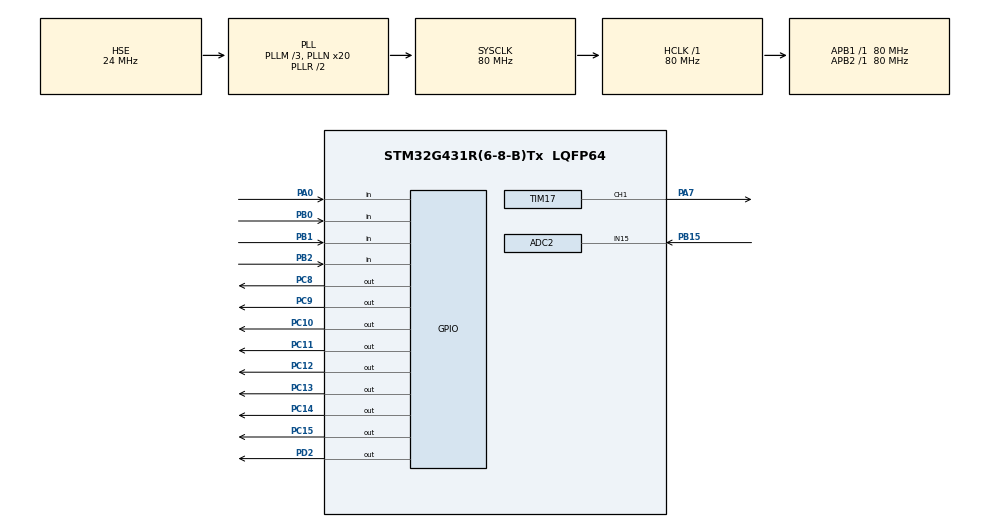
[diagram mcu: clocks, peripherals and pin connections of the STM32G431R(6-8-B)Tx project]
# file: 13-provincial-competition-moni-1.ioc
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ADC2.Channel-0\#ChannelRegularConversion=ADC_CHANNEL_15
ADC2.NbrOfConversionFlag=1
ADC2.OffsetNumber-0\#ChannelRegularConversion=ADC_OFFSET_NONE
ADC2.Rank-0\#ChannelRegularConversion=1
ADC2.SamplingTime-0\#ChannelRegularConversion=ADC_SAMPLETIME_2CYCLES_5
Mcu.Family=STM32G4
Mcu.Name=STM32G431R(6-8-B)Tx
Mcu.Package=LQFP64
NVIC.PriorityGroup=NVIC_PRIORITYGROUP_4
NVIC.TIM2_IRQn=true\:0\:0\:false\:false\:true\:true\:true\:true
PA0.GPIO_PuPd=GPIO_PULLUP
PA0.Signal=GPIO_Input
PA13.Mode=Serial_Wire
PA13.Signal=SYS_JTMS-SWDIO
PA14.Mode=Serial_Wire
PA14.Signal=SYS_JTCK-SWCLK
PA7.Signal=S_TIM17_CH1
PB0.GPIO_PuPd=GPIO_PULLUP
PB0.Signal=GPIO_Input
PB1.GPIO_PuPd=GPIO_PULLUP
PB1.Signal=GPIO_Input
PB15.Mode=IN15-Single-Ended
PB15.Signal=ADC2_IN15
PB2.GPIO_PuPd=GPIO_PULLUP
PB2.Signal=GPIO_Input
PC10.PinState=GPIO_PIN_SET
PC10.Signal=GPIO_Output
PC11.PinState=GPIO_PIN_SET
PC11.Signal=GPIO_Output
PC12.PinState=GPIO_PIN_SET
PC12.Signal=GPIO_Output
PC13.PinState=GPIO_PIN_SET
PC13.Signal=GPIO_Output
PC14-OSC32_IN.PinState=GPIO_PIN_SET
PC14-OSC32_IN.Signal=GPIO_Output
PC15-OSC32_OUT.PinState=GPIO_PIN_SET
PC15-OSC32_OUT.Signal=GPIO_Output
PC8.PinState=GPIO_PIN_SET
PC8.Signal=GPIO_Output
PC9.PinState=GPIO_PIN_SET
PC9.Signal=GPIO_Output
PD2.Signal=GPIO_Output
PF0-OSC_IN.Mode=HSE-External-Oscillator
PF0-OSC_IN.Signal=RCC_OSC_IN
PF1-OSC_OUT.Mode=HSE-External-Oscillator
PF1-OSC_OUT.Signal=RCC_OSC_OUT
ProjectManager.HeapSize=0x200
ProjectManager.StackSize=0x400
ProjectManager.TargetToolchain=MDK-ARM V5.32
RCC.ADC12Freq_Value=80000000
RCC.AHBFreq_Value=80000000
RCC.APB1Freq_Value=80000000
RCC.APB1TimFreq_Value=80000000
RCC.APB2Freq_Value=80000000
RCC.APB2TimFreq_Value=80000000
RCC.CortexFreq_Value=80000000
RCC.EXTERNAL_CLOCK_VALUE=12288000
RCC.HCLKFreq_Value=80000000
RCC.HSE_VALUE=24000000
RCC.HSI48_VALUE=48000000
RCC.HSI_VALUE=16000000
RCC.LSE_VALUE=32768
RCC.PLLM=RCC_PLLM_DIV3
RCC.PLLN=20
RCC.PLLSourceVirtual=RCC_PLLSOURCE_HSE
RCC.SYSCLKFreq_VALUE=80000000
RCC.SYSCLKSource=RCC_SYSCLKSOURCE_PLLCLK
RCC.USBFreq_Value=80000000
RCC.VCOOutputFreq_Value=160000000
SH.S_TIM17_CH1.0=TIM17_CH1,PWM Generation1 CH1
TIM17.Channel=TIM_CHANNEL_1
TIM17.PeriodNoDither=100-1
TIM17.Prescaler=800-1
TIM2.PeriodNoDither=1000-1
TIM2.Prescaler=8000-1
VP_SYS_VS_DBSignals.Mode=DisableDeadBatterySignals
VP_TIM17_VS_ClockSourceINT.Mode=Enable_Timer
VP_TIM2_VS_ClockSourceINT.Mode=Internal
board=custom

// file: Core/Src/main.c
/* USER CODE BEGIN Header */
/**
  ******************************************************************************
  * @file           : main.c
  * @brief          : Main program body
  ******************************************************************************
  * @attention
  *
  * Copyright (c) 2025 STMicroelectronics.
  * All rights reserved.
  *
  * This software is licensed under terms that can be found in the LICENSE file
  * in the root directory of this software component.
  * If no LICENSE file comes with this software, it is provided AS-IS.
  *
  ******************************************************************************
  */
/* USER CODE END Header */
#include "main.h"
#include "adc.h"
#include "tim.h"
#include "gpio.h"

/* USER CODE BEGIN Includes */
#include "stdio.h"
#include "stdint.h"
#include "string.h"
#include "lcd.h"
/* USER CODE END Includes */

/* USER CODE BEGIN PV */
char text[20];
double VR37;
uint8_t d, lock_flag=0, led2_flag=0;
uint16_t FA7=1000;
uint8_t key_val, key_up, key_down, key_last_val;
/* USER CODE END PV */

void SystemClock_Config(void);
/* USER CODE BEGIN PFP */
void LCD_Proc(void);
void KEY_Proc(void);
uint8_t KEY_Scan(void);
void PWM_Proc(void);
void LED_Proc(void);
void LED_Show(uint8_t led, uint8_t mode);
/* USER CODE END PFP */

int main(void)
{

  /* MCU Configuration--------------------------------------------------------*/

  /* Reset of all peripherals, Initializes the Flash interface and the Systick. */
  HAL_Init();

  /* Configure the system clock */
  SystemClock_Config();

  /* Initialize all configured peripherals */
  MX_GPIO_Init();
  MX_ADC2_Init();
  MX_TIM17_Init();
  MX_TIM2_Init();
  /* USER CODE BEGIN 2 */
    // LCD
    LCD_Init();
    LCD_Clear(Black);
    LCD_SetBackColor(Black);
    LCD_SetTextColor(White);
    // ADC
    HAL_ADCEx_Calibration_Start(&hadc2, ADC_SINGLE_ENDED);
    // TIM
    HAL_TIM_PWM_Start(&htim17, TIM_CHANNEL_1);
  /* USER CODE END 2 */

  /* Infinite loop */
  /* USER CODE BEGIN WHILE */
  while (1)
  {
      LCD_Proc();
      PWM_Proc();
      KEY_Proc();
      LED_Proc();
    /* USER CODE END WHILE */

  }
}

void SystemClock_Config(void)
{
  RCC_OscInitTypeDef RCC_OscInitStruct = {0};
  RCC_ClkInitTypeDef RCC_ClkInitStruct = {0};

  /** Configure the main internal regulator output voltage
  */
  HAL_PWREx_ControlVoltageScaling(PWR_REGULATOR_VOLTAGE_SCALE1);

  /** Initializes the RCC Oscillators according to the specified parameters
  * in the RCC_OscInitTypeDef structure.
  */
  RCC_OscInitStruct.OscillatorType = RCC_OSCILLATORTYPE_HSE;
  RCC_OscInitStruct.HSEState = RCC_HSE_ON;
  RCC_OscInitStruct.PLL.PLLState = RCC_PLL_ON;
  RCC_OscInitStruct.PLL.PLLSource = RCC_PLLSOURCE_HSE;
  RCC_OscInitStruct.PLL.PLLM = RCC_PLLM_DIV3;
  RCC_OscInitStruct.PLL.PLLN = 20;
  RCC_OscInitStruct.PLL.PLLP = RCC_PLLP_DIV2;
  RCC_OscInitStruct.PLL.PLLQ = RCC_PLLQ_DIV2;
  RCC_OscInitStruct.PLL.PLLR = RCC_PLLR_DIV2;
  if (HAL_RCC_OscConfig(&RCC_OscInitStruct) != HAL_OK)
  {
    Error_Handler();
  }

  /** Initializes the CPU, AHB and APB buses clocks
  */
  RCC_ClkInitStruct.ClockType = RCC_CLOCKTYPE_HCLK|RCC_CLOCKTYPE_SYSCLK
                              |RCC_CLOCKTYPE_PCLK1|RCC_CLOCKTYPE_PCLK2;
  RCC_ClkInitStruct.SYSCLKSource = RCC_SYSCLKSOURCE_PLLCLK;
  RCC_ClkInitStruct.AHBCLKDivider = RCC_SYSCLK_DIV1;
  RCC_ClkInitStruct.APB1CLKDivider = RCC_HCLK_DIV1;
  RCC_ClkInitStruct.APB2CLKDivider = RCC_HCLK_DIV1;

  if (HAL_RCC_ClockConfig(&RCC_ClkInitStruct, FLASH_LATENCY_2) != HAL_OK)
  {
    Error_Handler();
  }
}

/* USER CODE BEGIN 4 */
double GET_ADC_Vol(ADC_HandleTypeDef *hadc){
    HAL_ADC_Start(hadc);
    uint32_t temp = HAL_ADC_GetValue(hadc);
    return (temp*3.3)/4096;
}
void LCD_Proc(void){
    sprintf(text, "        DATA        ");
    LCD_DisplayStringLine(Line2, (uint8_t*)text);
    VR37=GET_ADC_Vol(&hadc2);
    sprintf(text, "   Volt:%.2fv       ", VR37);
    LCD_DisplayStringLine(Line4, (uint8_t*)text);
    sprintf(text, "   D:%02d%%            ", d);
    LCD_DisplayStringLine(Line5, (uint8_t*)text);
    sprintf(text, "   F:%dHz        ", FA7);
    LCD_DisplayStringLine(Line6, (uint8_t*)text);
}
void PWM_Proc(){
    if(VR37<1){
        TIM17->CCR1=40;
    }else if(VR37>=1 && VR37<=2){
        TIM17->CCR1=40*VR37;
    }else{
        TIM17->CCR1=80;
    }
    d=TIM17->CCR1;
}
void LED_Show(uint8_t led, uint8_t mode){
    if(mode){
        HAL_GPIO_WritePin(GPIOC, led<<8, GPIO_PIN_RESET);
        HAL_GPIO_WritePin(GPIOD, GPIO_PIN_2, GPIO_PIN_SET);
        HAL_GPIO_WritePin(GPIOD, GPIO_PIN_2, GPIO_PIN_RESET);
    }else{
        HAL_GPIO_WritePin(GPIOC, led<<8, GPIO_PIN_SET);
        HAL_GPIO_WritePin(GPIOD, GPIO_PIN_2, GPIO_PIN_SET);
        HAL_GPIO_WritePin(GPIOD, GPIO_PIN_2, GPIO_PIN_RESET);
    }
}
void LED_Proc(void){
    lock_flag? LED_Show(0x01, 1):LED_Show(0x01, 0);
    if(VR37>1){
        __HAL_TIM_CLEAR_FLAG(&htim2, TIM_FLAG_UPDATE);
        HAL_TIM_Base_Start_IT(&htim2);
    }else{
        HAL_TIM_Base_Stop_IT(&htim2);
        TIM2->CNT=0;
        led2_flag=0;
    }
    LED_Show(0x02, led2_flag);
}
uint8_t KEY_Scan(void){
    uint8_t key_value=0;
    if(HAL_GPIO_ReadPin(GPIOB, GPIO_PIN_0)==GPIO_PIN_RESET){
        key_value=1;
    }
    if(HAL_GPIO_ReadPin(GPIOB, GPIO_PIN_1)==GPIO_PIN_RESET){
        key_value=2;
    }
    if(HAL_GPIO_ReadPin(GPIOB, GPIO_PIN_2)==GPIO_PIN_RESET){
        key_value=3;
    }
    if(HAL_GPIO_ReadPin(GPIOA, GPIO_PIN_0)==GPIO_PIN_RESET){
        key_value=4;
    }
    return key_value;
}
void KEY_Proc(void){
    key_val=KEY_Scan();
    key_down=key_val&(key_val^key_last_val);
    key_up=~key_val&(key_val^key_last_val);
    if(key_down==1 && !lock_flag){
        if(FA7<10000){
            FA7 += 1000;
            __HAL_TIM_SET_PRESCALER(&htim17, 800000/FA7-1);
        }
    }
    if(key_down==2 && !lock_flag){
        if(FA7>1000){
            FA7 -= 1000;
            __HAL_TIM_SET_PRESCALER(&htim17, 800000/FA7-1);
        }
    }
    if(key_down==3){
        lock_flag^=1;
    }
    key_last_val=key_val;
}
void HAL_TIM_PeriodElapsedCallback(TIM_HandleTypeDef *htim){
    if(htim->Instance==TIM2){
        led2_flag^=1;
    }
}
/* USER CODE END 4 */

void Error_Handler(void)
{
  __disable_irq();
  while (1)
  {
  }
}
